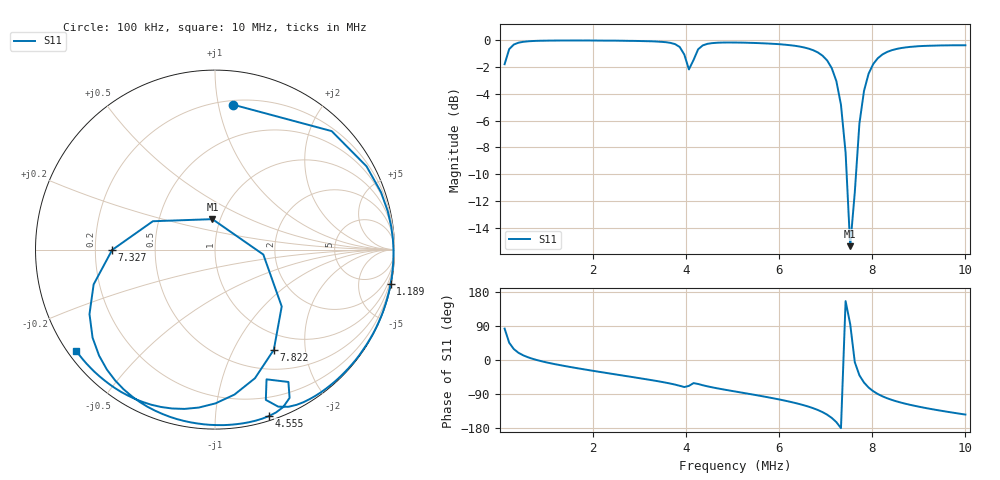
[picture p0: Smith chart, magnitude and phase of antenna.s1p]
# HZ S RI R 50
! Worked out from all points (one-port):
!   101 points, 100 kHz to 10 MHz, reference 50 ohm
!   lowest |S11| = -15.4 dB at 7.525 MHz (marker M1), VSWR 1.41, Z = 45.9 + j16 ohm
!   |S11| at or under -10 dB: 7.449 MHz to 7.65 MHz (201.3 kHz wide, 2.67 % of centre)
!   S11 on the Smith chart (normalised r, x): 100 kHz: 0.23, +1.11; 1.189 MHz: 0, -10; 4.555 MHz: 0.04, -1.38; 7.327 MHz: 0.27, -0.00; 7.822 MHz: 0.76, -1.46; 10 MHz: 0.02, -0.33
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100000  0.1019 0.8072
199000  0.6501 0.6601
298000  0.8445 0.4638
397000  0.9248 0.32
694000  0.991 0.0591
1189000  0.9781 -0.1926
1387000  0.9599 -0.2705
2575000  0.7652 -0.6368
3862000  0.3524 -0.875
4060000  0.2871 -0.7228
4159000  0.4091 -0.7374
4258000  0.4155 -0.8263
4555000  0.3008 -0.9273
5050000  0.1192 -0.9727
6337000  -0.3762 -0.8756
6931000  -0.6459 -0.5906
7129000  -0.6993 -0.3594
7327000  -0.5734 -0.00232
7426000  -0.3462 0.158
7525000  -0.0142 0.1696
7624000  0.2693 -0.0277
7723000  0.3717 -0.3168
7822000  0.3278 -0.558
7921000  0.2228 -0.7164
8119000  0.00273 -0.8567
8416000  -0.2401 -0.8852
8812000  -0.4471 -0.8315
1e7  -0.7743 -0.5631
